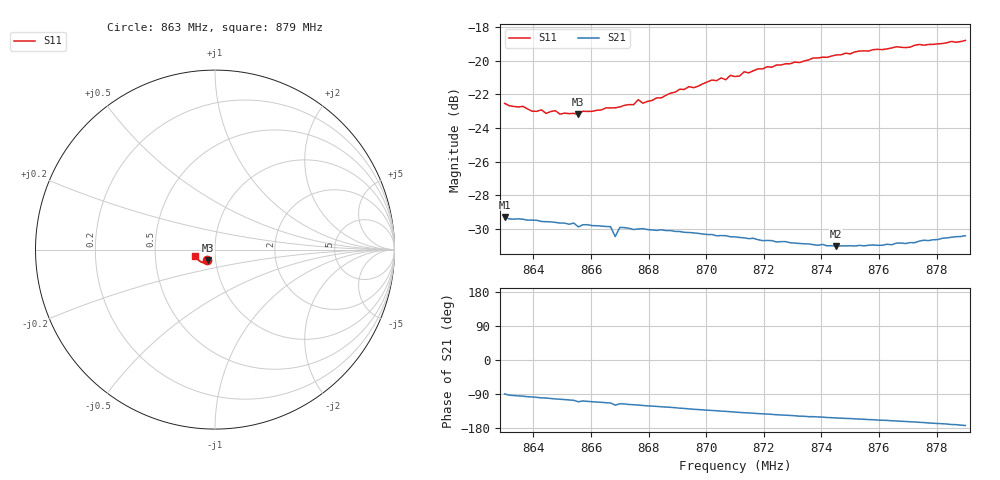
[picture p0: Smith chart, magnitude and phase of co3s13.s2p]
# HZ S RI R 50
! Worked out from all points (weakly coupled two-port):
!   101 points, 863 MHz to 879 MHz, reference 50 ohm
!   highest |S21| = -29.29 dB at 863 MHz (marker M1); lowest = -31.0 dB at 874.52 MHz (marker M2)
!   lowest |S11| = -23.2 dB at 865.56 MHz (marker M3), VSWR 1.15, Z = 46.1 - j5.39 ohm
!   |S11| at or under -10 dB: start of sweep to end of sweep
!   S12 and S22 are empty: the file has one direction only
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8.63e8  -0.0458 -0.0589  0.000288 -0.0343  0 0  0 0
8.6428e8  -0.041 -0.0585  -0.00577 -0.0328  0 0  0 0
8.6444e8  -0.0408 -0.0565  -0.006 -0.0327  0 0  0 0
8.6476e8  -0.0399 -0.0588  -0.0073 -0.0323  0 0  0 0
8.6492e8  -0.0385 -0.0577  -0.00771 -0.032  0 0  0 0
8.654e8  -0.0386 -0.058  -0.00931 -0.0316  0 0  0 0
8.6556e8  -0.0375 -0.0582  -0.0111 -0.0301  0 0  0 0
8.6572e8  -0.0379 -0.0598  -0.0101 -0.031  0 0  0 0
8.6668e8  -0.0375 -0.0619  -0.0128 -0.0295  0 0  0 0
8.6684e8  -0.0366 -0.0625  -0.0146 -0.0263  0 0  0 0
8.67e8  -0.0371 -0.0627  -0.0138 -0.0289  0 0  0 0
8.6748e8  -0.0367 -0.0643  -0.0148 -0.0278  0 0  0 0
8.6764e8  -0.0392 -0.0657  -0.0153 -0.0277  0 0  0 0
8.678e8  -0.0383 -0.0642  -0.0159 -0.0275  0 0  0 0
8.6844e8  -0.0391 -0.0669  -0.0173 -0.0263  0 0  0 0
8.6908e8  -0.0431 -0.07  -0.0188 -0.0248  0 0  0 0
8.71e8  -0.0514 -0.0734  -0.0221 -0.0203  0 0  0 0
8.7132e8  -0.0548 -0.0746  -0.0225 -0.0195  0 0  0 0
8.7372e8  -0.0718 -0.0722  -0.0245 -0.0144  0 0  0 0
8.7452e8  -0.0791 -0.0674  -0.0251 -0.0128  0 0  0 0
8.7644e8  -0.0924 -0.0579  -0.0268 -0.00957  0 0  0 0
8.79e8  -0.1088 -0.0362  -0.03 -0.00376  0 0  0 0
